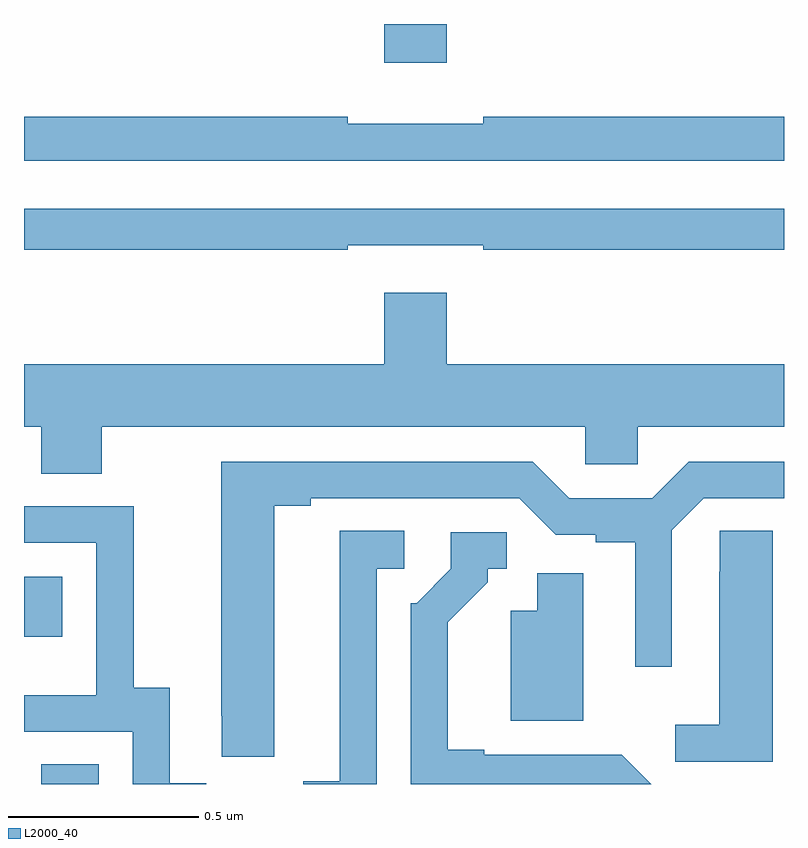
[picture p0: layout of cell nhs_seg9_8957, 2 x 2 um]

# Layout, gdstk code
import gdstk
lib = gdstk.Library(unit=1e-6, precision=1e-09)
def R(c, l, rs):  # rectangles x0, y0, x1, y1
    for r in rs: c.add(gdstk.rectangle(r[:2], r[2:], *l))
def P(c, l, *ps):  # polygons
    for p in ps: c.add(gdstk.Polygon(p, *l))
L2000_40 = (2000, 40)

nhs_seg9_8957 = lib.new_cell('nhs_seg9_8957')
R(nhs_seg9_8957, L2000_40, [(224.045,1175.5,224.197,1175.552), (224,1175.888,224.101,1176.046), (224.948,1177.398,225.112,1177.5)])
P(nhs_seg9_8957, L2000_40, [(226,1177.256),(225.208,1177.256),(225.208,1177.237),(224.852,1177.237),(224.852,1177.256),(224,1177.256),(224,1177.14),(226,1177.14)],
  [(224.852,1176.918),(225.208,1176.918),(225.208,1176.906),(226,1176.906),(226,1177.014),(224,1177.014),(224,1176.906),(224.852,1176.906)],
  [(224.205,1176.44),(225.477,1176.44),(225.477,1176.342),(225.615,1176.342),(225.615,1176.44),(226,1176.44),(226,1176.604),(225.112,1176.604),(225.112,1176.793),(224.948,1176.793),(224.948,1176.604),(224,1176.604),(224,1176.44),(224.045,1176.44),(224.045,1176.316),(224.205,1176.316)],
  [(224.659,1176.232),(224.755,1176.232),(224.755,1176.252),(225.303,1176.252),(225.399,1176.156),(225.504,1176.156),(225.504,1176.136),(225.608,1176.136),(225.608,1175.808),(225.705,1175.808),(225.705,1176.168),(225.789,1176.252),(226,1176.252),(226,1176.348),(225.749,1176.348),(225.653,1176.252),(225.435,1176.252),(225.339,1176.348),(224.519,1176.348),(224.519,1175.68),(224.52,1175.68),(224.52,1175.572),(224.659,1175.572)],
  [(224.479,1175.502),(224.383,1175.502),(224.383,1175.753),(224.289,1175.753),(224.289,1176.231),(224,1176.231),(224,1176.135),(224.19,1176.135),(224.19,1175.734),(224.189,1175.734),(224.189,1175.733),(224,1175.733),(224,1175.637),(224.286,1175.637),(224.286,1175.5),(224.479,1175.5)],
  [(224.928,1176.066),(225.001,1176.066),(225.001,1176.167),(224.831,1176.167),(224.831,1175.507),(224.735,1175.507),(224.735,1175.5),(224.928,1175.5)],
  [(225.97,1176.167),(225.831,1176.167),(225.831,1176.059),(225.83,1176.059),(225.83,1175.656),(225.714,1175.656),(225.714,1175.559),(225.97,1175.559)],
  [(225.573,1175.577),(225.211,1175.577),(225.211,1175.59),(225.115,1175.59),(225.115,1175.926),(225.22,1176.031),(225.22,1176.066),(225.27,1176.066),(225.27,1176.162),(225.123,1176.162),(225.123,1176.066),(225.033,1175.976),(225.018,1175.976),(225.018,1175.5),(225.65,1175.5)],
  [(225.472,1176.054),(225.35,1176.054),(225.35,1175.956),(225.281,1175.956),(225.281,1175.666),(225.472,1175.666)])

lib.write_gds('nhs_seg9_8957.gds')
